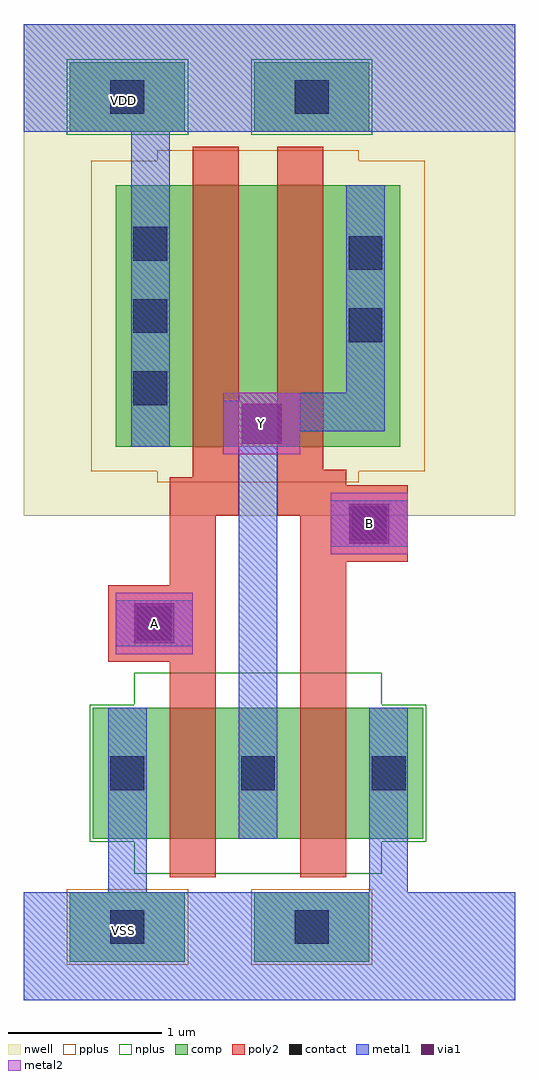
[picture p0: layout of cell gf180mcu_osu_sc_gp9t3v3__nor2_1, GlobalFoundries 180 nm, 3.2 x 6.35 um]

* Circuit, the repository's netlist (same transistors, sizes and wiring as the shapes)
* Copyright 2022 Google LLC
*
* Licensed under the Apache License, Version 2.0 (the "License");
* you may not use this file except in compliance with the License.
* You may obtain a copy of the License at
*
*      http://www.apache.org/licenses/LICENSE-2.0
*
* Unless required by applicable law or agreed to in writing, software
* distributed under the License is distributed on an "AS IS" BASIS,
* WITHOUT WARRANTIES OR CONDITIONS OF ANY KIND, either express or implied.
* See the License for the specific language governing permissions and
* limitations under the License.

.option scale=0.05u

.subckt gf180mcu_osu_sc_gp9t3v3__nor2_1 A Y B
X0 Y B a_25_70 VDD pmos_3p3 w=34 l=6
X1 Y A VSS VSS nmos_3p3 w=17 l=6
X2 a_25_70 A VDD VDD pmos_3p3 w=34 l=6
X3 VSS B Y VSS nmos_3p3 w=17 l=6
.ends

** hspice subcircuit dictionary

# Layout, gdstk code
import gdstk
lib = gdstk.Library(unit=1e-6, precision=1e-09)
def R(c, l, rs):  # rectangles x0, y0, x1, y1
    for r in rs: c.add(gdstk.rectangle(r[:2], r[2:], *l))
def A(c, l, x, y, w, h, nx, ny, dx, dy):  # array of equal rectangles
    R(c, l, [(x+i*dx, y+j*dy, x+i*dx+w, y+j*dy+h) for i in range(nx) for j in range(ny)])
nwell = (21, 0)
comp = (22, 0)
poly2 = (30, 0)
pplus = (31, 0)
nplus = (32, 0)
contact = (33, 0)
metal1 = (34, 0)
via1 = (35, 0)
metal2 = (36, 0)

gf180mcu_osu_sc_gp9t3v3_ = lib.new_cell('gf180mcu_osu_sc_gp9t3v3__nor2_1')
R(gf180mcu_osu_sc_gp9t3v3_, nwell, [(0,3.15,3.2,6.35)])
R(gf180mcu_osu_sc_gp9t3v3_, comp, [(0.3,0.25,1.05,0.7), (1.5,0.25,2.25,0.7), (0.45,1.05,2.6,1.9), (0.6,3.6,2.45,5.3), (0.3,5.65,1.05,6.1), (1.5,5.65,2.25,6.1)])
R(gf180mcu_osu_sc_gp9t3v3_, poly2, [(0.95,0.8,1.25,2.2), (1.8,0.8,2.1,2.85), (0.55,2.2,1.25,2.7), (0.95,2.7,1.25,3.15), (1.8,2.85,2.5,3.15), (0.95,3.15,1.4,3.4), (1.65,3.15,2.5,3.35), (1.65,3.35,2.1,3.45), (1.1,3.4,1.4,5.55), (1.65,3.45,1.95,5.55)])
R(gf180mcu_osu_sc_gp9t3v3_, pplus, [(0.28,0.23,1.07,0.72), (1.48,0.23,2.27,0.72), (0.87,3.37,2.18,3.44), (0.44,3.44,2.61,5.46), (0.87,5.46,2.18,5.53)])
R(gf180mcu_osu_sc_gp9t3v3_, nplus, [(0.72,0.82,2.33,1.03), (0.43,1.03,2.62,1.92), (0.72,1.92,2.33,2.13), (0.28,5.63,1.07,6.12), (1.48,5.63,2.27,6.12)])
A(gf180mcu_osu_sc_gp9t3v3_, contact, 0.565, 1.365, 0.22, 0.22, 3, 1, 0.85, 0)
A(gf180mcu_osu_sc_gp9t3v3_, contact, 0.715, 3.87, 0.22, 0.22, 1, 3, 0, 0.47)
R(gf180mcu_osu_sc_gp9t3v3_, contact, [(0.565,0.365,0.785,0.585), (1.765,0.365,1.985,0.585), (0.74,2.34,0.96,2.56), (2.14,2.99,2.36,3.21), (2.115,4.28,2.335,4.5), (2.115,4.75,2.335,4.97), (0.565,5.765,0.785,5.985), (1.765,5.765,1.985,5.985)])
R(gf180mcu_osu_sc_gp9t3v3_, metal1, [(0,0,3.2,0.7), (0.55,0.7,0.8,1.9), (2.25,0.7,2.5,1.9), (1.4,1.05,1.65,3.6), (0.6,2.3,1.1,2.6), (2,2.95,2.5,3.25), (0.7,3.6,0.95,5.65), (1.3,3.6,1.8,3.7), (1.3,3.7,2.35,3.9), (1.4,3.9,2.35,3.95), (2.1,3.95,2.35,5.3), (0,5.65,3.2,6.35)])
R(gf180mcu_osu_sc_gp9t3v3_, via1, [(0.72,2.32,0.98,2.58), (2.12,2.97,2.38,3.23), (1.42,3.62,1.68,3.88)])
R(gf180mcu_osu_sc_gp9t3v3_, metal2, [(0.6,2.25,1.1,2.65), (2,2.9,2.5,3.3), (1.3,3.55,1.8,3.95)])
gf180mcu_osu_sc_gp9t3v3_.add(gdstk.Label('A', (0.85,2.45), layer=36, texttype=10))
gf180mcu_osu_sc_gp9t3v3_.add(gdstk.Label('B', (2.25,3.1), layer=36, texttype=10))
gf180mcu_osu_sc_gp9t3v3_.add(gdstk.Label('Y', (1.55,3.75), layer=36, texttype=10))
gf180mcu_osu_sc_gp9t3v3_.add(gdstk.Label('VDD', (0.65,5.85), layer=34, texttype=10))
gf180mcu_osu_sc_gp9t3v3_.add(gdstk.Label('VSS', (0.65,0.45), layer=34, texttype=10))

lib.write_gds('gf180mcu_osu_sc_gp9t3v3__nor2_1.gds')
